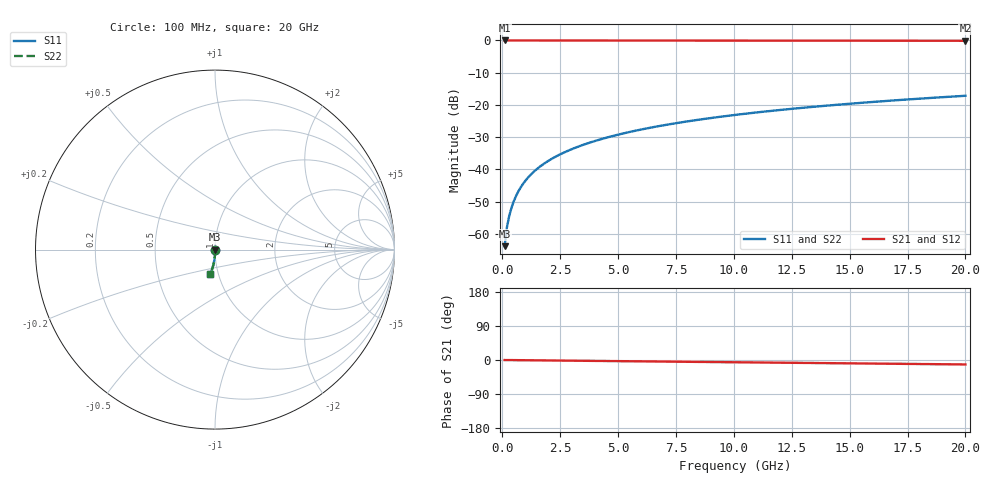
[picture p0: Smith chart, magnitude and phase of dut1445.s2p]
! Touchstone file exported from HFSS 2026.1.0
!  File:  C:/ffzhzh/LocalFiles/Ansys_Project_Files/temp_train_TSV_1445_1783197744_51560.aedt
!  Generated:  04:43:38 AM Jul  5, 2026
!  Design:  TSV
!  Project:  temp_train_TSV_1445_1783197744_51560
! Variables:
!  h_bsmrdl = 2um
!  h_ox = 20um
!  h_rdl = 5um
!  h_sub = 94.63um
!  h_tmrdl = 5um
!  h_tsv = 94.63um
!  h_via = 3um
!  l_bsmrdl = 300um
!  l_sub = 419.46um
!  l_tmrdl = 200um
!  m_sub = 200um
!  pitch = 22.74um
!  r_tsv = 9.73um
!  s_tmrdl = 10um
!  w_bsmrdl = 18um
!  w_sub = 500um
!  w_tmrdl = 12um
!  x_tsv_center1 = 206um
!  x_tsv_center2 = 524um
!  x_tsv_center3 = 736um
!  x_tsv_center4 = 1054um
!  x_tsv_center5 = 1266um
!  x_tsv_center6 = 1584um
# GHz S MA R 50.000000
! Terminal data exported
! Port[1] = TSV1_1_T1
! Port[2] = TSV1_1_T2
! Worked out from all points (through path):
!   200 points, 100 MHz to 20 GHz, reference 50 ohm
!   highest |S21| = 0.00 dB at 100 MHz (marker M1); lowest = -0.1 dB at 20 GHz (marker M2)
!   group delay of S21, straight-line fit = 1.63 ps
!   lowest |S11| = -63.8 dB at 100 MHz (marker M3), VSWR 1.00, Z = 50 - j0.0617 ohm
!   |S11| at or under -10 dB: start of sweep to end of sweep
!   |S22| runs from -63.8 to -17.2 dB; largest |S21 - S12| = 2.5e-15
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0.1  0.000642 -73.9  0.9998 -0.1  0.9998 -0.1  0.000642 -73.9
! Gamma 0 0 0 0
! Port Impedance 50 0 50 0
0.2  0.00126 -80.6  0.9998 -0.1  0.9998 -0.1  0.00126 -80.6
0.3  0.001899 -82.6  0.9997 -0.2  0.9997 -0.2  0.001899 -82.6
0.4  0.002556 -83.5  0.9997 -0.3  0.9997 -0.3  0.002556 -83.5
0.5  0.003226 -84.2  0.9996 -0.3  0.9996 -0.3  0.003226 -84.2
0.7  0.004592 -85.1  0.9996 -0.4  0.9996 -0.4  0.004592 -85.1
0.8  0.005282 -85.5  0.9995 -0.5  0.9995 -0.5  0.005282 -85.5
1  0.00667 -86.2  0.9995 -0.6  0.9995 -0.6  0.00667 -86.2
1.2  0.00806 -86.7  0.9994 -0.7  0.9994 -0.7  0.00806 -86.7
1.4  0.00945 -87.2  0.9994 -0.8  0.9994 -0.8  0.00945 -87.2
1.7  0.01153 -87.8  0.9993 -1.0  0.9993 -1.0  0.01153 -87.8
2  0.01362 -88.3  0.9992 -1.2  0.9992 -1.2  0.01362 -88.3
2.7  0.01848 -89.2  0.999 -1.6  0.999 -1.6  0.01848 -89.2
3.5  0.02405 -90.0  0.9988 -2.1  0.9988 -2.1  0.02405 -90.0
4.2  0.02893 -90.6  0.9986 -2.5  0.9986 -2.5  0.02893 -90.6
5  0.03452 -91.2  0.9983 -3.0  0.9983 -3.0  0.03452 -91.2
6.8  0.04712 -92.5  0.9976 -4.0  0.9976 -4.0  0.04712 -92.5
8.3  0.05762 -93.5  0.9969 -4.9  0.9969 -4.9  0.05762 -93.5
10.1  0.07019 -94.7  0.9959 -6.0  0.9959 -6.0  0.07019 -94.7
13.4  0.09315 -96.8  0.9938 -7.9  0.9938 -7.9  0.09315 -96.8
16.7  0.1159 -98.8  0.9912 -9.8  0.9912 -9.8  0.1159 -98.8
20  0.1385 -100.8  0.988 -11.7  0.988 -11.7  0.1385 -100.8
